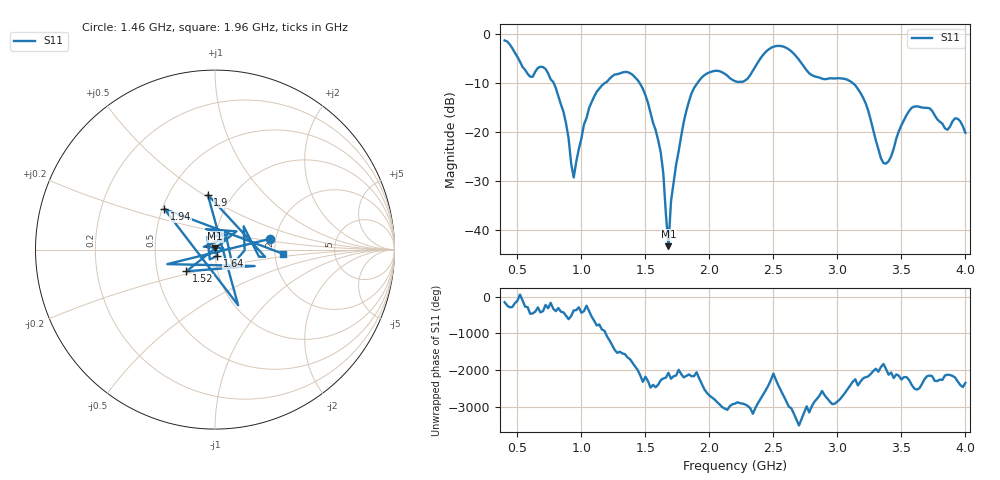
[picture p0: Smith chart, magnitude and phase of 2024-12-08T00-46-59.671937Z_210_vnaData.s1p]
!Created with skrf (http://scikit-rf.org).
# Hz S RI R 50.0
!freq ReS11 ImS11
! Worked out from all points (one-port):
!   181 points, 400 MHz to 4 GHz, reference 50 ohm
!   lowest |S11| = -43.2 dB at 1.68 GHz (marker M1), VSWR 1.01, Z = 50.1 + j0.686 ohm
!   |S11| at or under -10 dB: 783.9 MHz to 1.181 GHz (397.1 MHz wide, 40.4 % of centre); 1.455 GHz to 1.906 GHz (450.3 MHz wide, 26.8 % of centre); 3.121 GHz to end of sweep
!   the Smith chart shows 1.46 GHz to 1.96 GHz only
!   S11 on the Smith chart (normalised r, x): 1.46 GHz: 1.85, +0.24; 1.52 GHz: 0.71, -0.18; 1.64 GHz: 1.02, -0.07; 1.9 GHz: 0.77, +0.52; 1.94 GHz: 0.51, +0.27; 1.96 GHz: 2.22, -0.12
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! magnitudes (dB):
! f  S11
! 400 MHz  -1.3
! 600 MHz  -8.7
! 720 MHz  -7.1
! 860 MHz  -15.8
! 940 MHz  -29.2
! 1.08 GHz  -13.8
! 1.3 GHz  -8.0
! 1.46 GHz  -10.2
! 1.52 GHz  -14.0
! 1.64 GHz  -28.4
! 1.68 GHz  -43.2
! 1.7 GHz  -34.1
! 1.76 GHz  -23.8
! 1.82 GHz  -15.6
! 1.9 GHz  -10.2
! 1.94 GHz  -8.8
! 1.96 GHz  -8.4
! 2.2 GHz  -9.6
! 2.5 GHz  -2.6
! 2.66 GHz  -4.0
! 2.8 GHz  -8.4
! 3.1 GHz  -9.6
! 3.22 GHz  -14.0
! 3.36 GHz  -26.3
! 3.56 GHz  -15.7
! 3.86 GHz  -19.5
! 3.94 GHz  -17.2
! 4 GHz  -20.1
